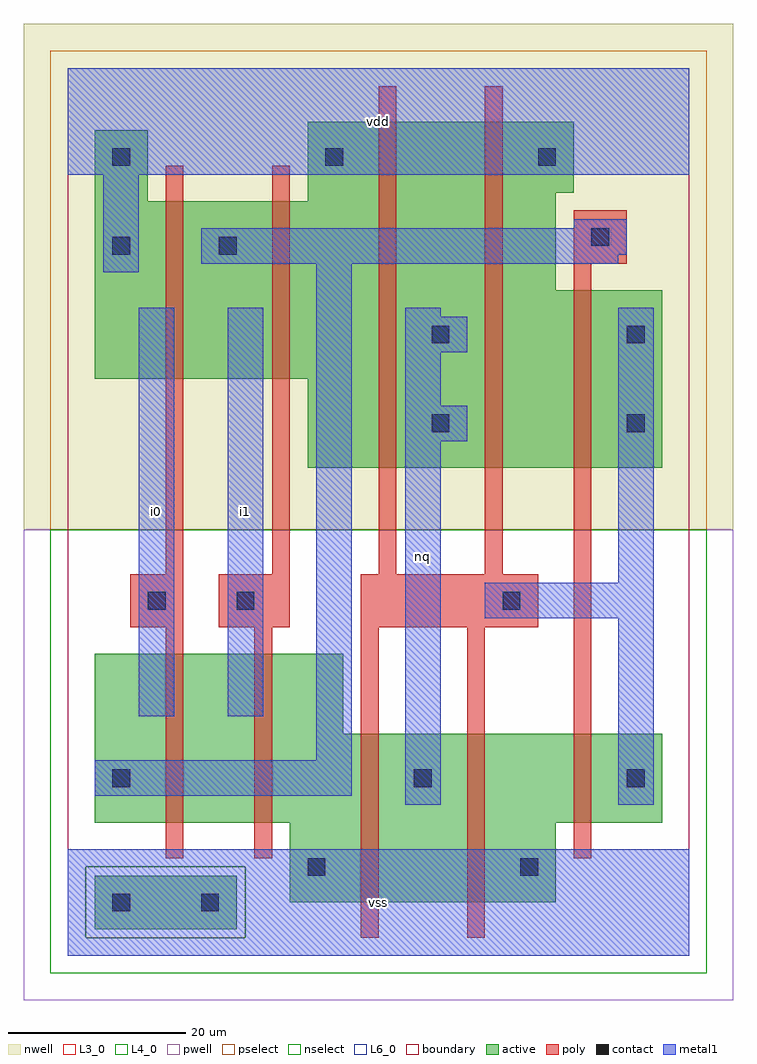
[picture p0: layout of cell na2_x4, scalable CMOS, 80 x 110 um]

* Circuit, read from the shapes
.subckt na2_x4 i0 i1 nq vdd vss
M1 n1 i0 n2 vss nfet w=19u l=2u
M2 vss i1 n1 vss nfet w=19u l=2u
M3 nq n3 vss vss nfet w=19u l=2u m=2
M4 n3 n2 vss vss nfet w=10u l=2u
M5 n2 i0 vdd n4 pfet w=20u l=2u
M6 vdd i1 n2 n4 pfet w=20u l=2u
M7 nq n3 vdd n4 pfet w=39u l=2u m=2
M8 n3 n2 vdd n4 pfet w=20u l=2u
.ends

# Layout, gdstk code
import gdstk
lib = gdstk.Library(unit=1e-6, precision=1e-09)
def R(c, l, rs):  # rectangles x0, y0, x1, y1
    for r in rs: c.add(gdstk.rectangle(r[:2], r[2:], *l))
def A(c, l, x, y, w, h, nx, ny, dx, dy):  # array of equal rectangles
    R(c, l, [(x+i*dx, y+j*dy, x+i*dx+w, y+j*dy+h) for i in range(nx) for j in range(ny)])
L3_0 = (3, 0)
L4_0 = (4, 0)
L6_0 = (6, 0)
contact = (25, 0)
pwell = (41, 0)
nwell = (42, 0)
active = (43, 0)
pselect = (44, 0)
nselect = (45, 0)
poly = (46, 0)
metal1 = (49, 0)
boundary = (63, 0)

na2_x4 = lib.new_cell('na2_x4')
R(na2_x4, L3_0, [(25,6,55,15), (3,15,67,25), (3,25,31,34)])
R(na2_x4, L4_0, [(27,55,67,65), (3,65,67,75), (3,75,55,85), (3,85,9,93), (27,85,55,86), (27,86,57,94)])
R(na2_x4, L6_0, [(3,3,19,9)])
A(na2_x4, contact, 5, 89, 2, 2, 3, 1, 24, 0)
R(na2_x4, contact, [(5,5,7,7), (15,5,17,7), (27,9,29,11), (51,9,53,11), (5,19,7,21), (39,19,41,21), (63,19,65,21), (9,39,11,41), (19,39,21,41), (49,39,51,41), (41,59,43,61), (63,59,65,61), (41,69,43,71), (63,69,65,71), (5,79,7,81), (17,79,19,81), (59,80,61,82)])
R(na2_x4, pwell, [(-5,-5,75,48)])
R(na2_x4, nwell, [(-5,48,75,105)])
R(na2_x4, active, [(3,3,19,9), (25,6,55,15), (3,15,67,25), (3,25,31,34), (27,55,67,65), (3,65,67,75), (3,75,55,85), (3,85,9,93), (27,85,55,86), (27,86,57,94)])
R(na2_x4, pselect, [(2,2,20,10), (-2,48,72,102)])
R(na2_x4, nselect, [(-2,-2,72,2), (-2,2,2,10), (20,2,72,10), (-2,10,72,48)])
R(na2_x4, poly, [(33,2,35,37), (45,2,47,37), (11,11,13,37), (21,11,23,37), (57,11,59,78), (7,37,13,43), (17,37,25,43), (33,37,53,43), (11,43,13,89), (23,43,25,89), (35,43,37,98), (47,43,49,98), (57,78,63,84)])
R(na2_x4, metal1, [(0,0,70,12), (38,17,42,58), (62,17,66,38), (3,18,32,22), (28,22,32,78), (8,27,12,73), (18,27,22,73), (47,38,66,42), (62,42,66,73), (38,58,45,62), (38,62,42,68), (38,68,45,72), (38,72,42,73), (4,77,8,88), (15,78,62,79), (15,79,63,82), (57,82,63,83), (0,88,70,100)])
R(na2_x4, boundary, [(0,0,70,100)])
na2_x4.add(gdstk.Label('i0', (10,50), layer=49, texttype=0))
na2_x4.add(gdstk.Label('i1', (20,50), layer=49, texttype=0))
na2_x4.add(gdstk.Label('vss', (35,6), layer=49, texttype=0))
na2_x4.add(gdstk.Label('nq', (40,45), layer=49, texttype=0))
na2_x4.add(gdstk.Label('vdd', (35,94), layer=49, texttype=0))

lib.write_gds('na2_x4.gds')
